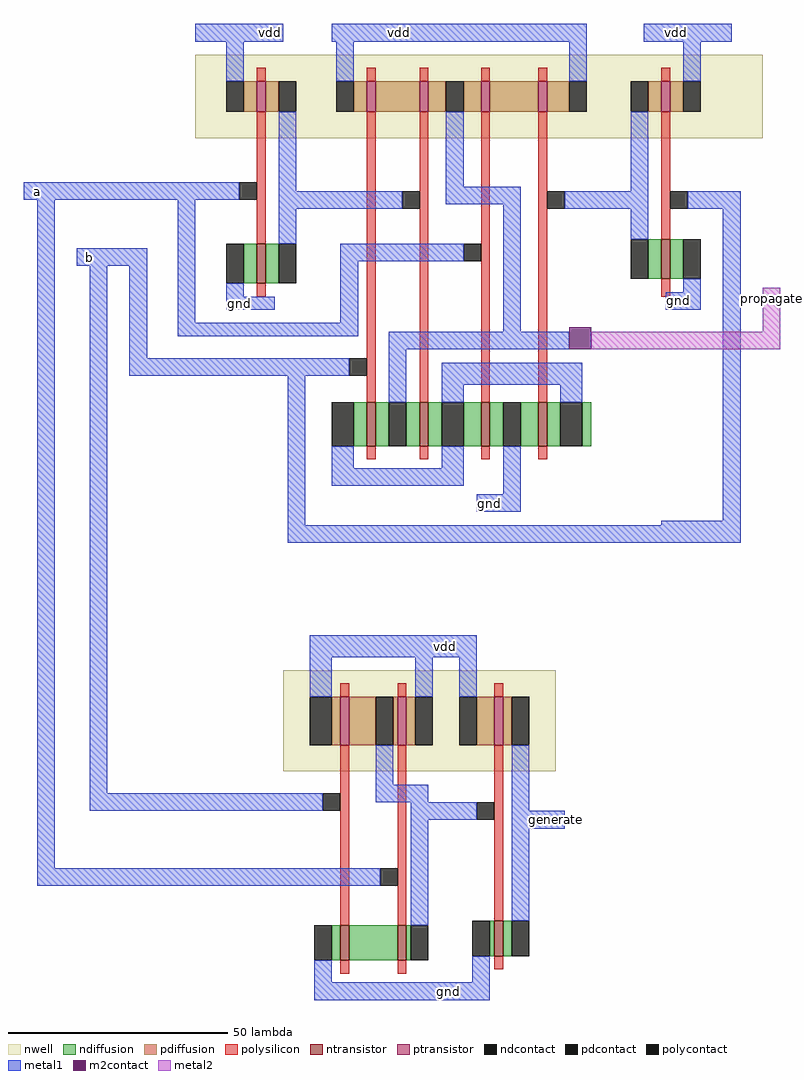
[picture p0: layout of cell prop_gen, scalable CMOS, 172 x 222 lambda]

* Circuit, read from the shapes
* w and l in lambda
.subckt prop_gen a b generate gnd propagate vdd
M1 n1 a gnd VSUBS nfet w=9 l=2
M2 n2 b gnd VSUBS nfet w=8 l=2
M3 propagate b n3 VSUBS nfet w=10 l=2
M4 n4 a n2 VSUBS nfet w=8 l=2
M5 n3 n1 propagate VSUBS nfet w=10 l=2
M6 gnd a n3 VSUBS nfet w=10 l=2
M7 generate n4 gnd VSUBS nfet w=8 l=2
M8 n3 n5 gnd VSUBS nfet w=10 l=2
M9 gnd b n5 VSUBS nfet w=9 l=2
M10 n1 a vdd n6 pfet w=7 l=2
M11 n4 b vdd n7 pfet w=11 l=2
M12 n8 b vdd n6 pfet w=7 l=2
M13 vdd a n4 n7 pfet w=11 l=2
M14 propagate n1 n8 n6 pfet w=7 l=2
M15 n9 a propagate n6 pfet w=7 l=2
M16 generate n4 vdd n7 pfet w=11 l=2
M17 vdd n5 n9 n6 pfet w=7 l=2
M18 vdd b n5 n6 pfet w=7 l=2
.ends

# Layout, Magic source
magic
tech scmos
<< nwell >>
rect 119 199 248 218
rect 139 55 201 78
<< ntransistor >>
rect 133 166 135 175
rect 225 167 227 176
rect 158 129 160 139
rect 170 129 172 139
rect 184 129 186 139
rect 197 129 199 139
rect 152 12 154 20
rect 165 12 167 20
rect 187 13 189 21
<< ptransistor >>
rect 133 205 135 212
rect 158 205 160 212
rect 170 205 172 212
rect 184 205 186 212
rect 197 205 199 212
rect 225 205 227 212
rect 152 61 154 72
rect 165 61 167 72
rect 187 61 189 72
<< ndiffusion >>
rect 130 166 133 175
rect 135 166 138 175
rect 222 167 225 176
rect 227 167 230 176
rect 155 129 158 139
rect 160 129 163 139
rect 167 129 170 139
rect 172 129 175 139
rect 180 129 184 139
rect 186 129 189 139
rect 193 129 197 139
rect 199 129 202 139
rect 207 129 209 139
rect 150 12 152 20
rect 154 12 165 20
rect 167 12 168 20
rect 186 13 187 21
rect 189 13 191 21
<< pdiffusion >>
rect 130 205 133 212
rect 135 205 138 212
rect 155 205 158 212
rect 160 205 170 212
rect 172 205 176 212
rect 180 205 184 212
rect 186 205 197 212
rect 199 205 204 212
rect 222 205 225 212
rect 227 205 230 212
rect 150 61 152 72
rect 154 61 160 72
rect 164 61 165 72
rect 167 61 169 72
rect 183 61 187 72
rect 189 61 191 72
<< ndcontact >>
rect 126 166 130 175
rect 138 166 142 175
rect 218 167 222 176
rect 230 167 234 176
rect 150 129 155 139
rect 163 129 167 139
rect 175 129 180 139
rect 189 129 193 139
rect 202 129 207 139
rect 146 12 150 20
rect 168 12 172 20
rect 182 13 186 21
rect 191 13 195 21
<< pdcontact >>
rect 126 205 130 212
rect 138 205 142 212
rect 151 205 155 212
rect 176 205 180 212
rect 204 205 208 212
rect 218 205 222 212
rect 230 205 234 212
rect 145 61 150 72
rect 160 61 164 72
rect 169 61 173 72
rect 179 61 183 72
rect 191 61 195 72
<< polysilicon >>
rect 133 212 135 215
rect 158 212 160 215
rect 170 212 172 215
rect 184 212 186 215
rect 197 212 199 215
rect 225 212 227 215
rect 133 175 135 205
rect 133 163 135 166
rect 158 139 160 205
rect 170 139 172 205
rect 184 139 186 205
rect 197 139 199 205
rect 225 176 227 205
rect 225 163 227 167
rect 158 126 160 129
rect 170 126 172 129
rect 184 126 186 129
rect 197 126 199 129
rect 152 72 154 75
rect 165 72 167 75
rect 187 72 189 75
rect 152 20 154 61
rect 165 20 167 61
rect 187 21 189 61
rect 152 9 154 12
rect 165 9 167 12
rect 187 10 189 13
<< polycontact >>
rect 129 185 133 189
rect 154 145 158 149
rect 166 183 170 187
rect 180 171 184 175
rect 199 183 203 187
rect 227 183 231 187
rect 148 46 152 50
rect 161 29 165 33
rect 183 44 187 48
<< metal1 >>
rect 119 221 139 225
rect 150 221 208 225
rect 221 221 241 225
rect 126 212 130 221
rect 151 212 155 221
rect 204 212 208 221
rect 230 212 234 221
rect 80 185 129 189
rect 138 187 142 205
rect 176 188 180 205
rect 83 33 87 185
rect 92 170 108 174
rect 95 50 99 170
rect 104 149 108 170
rect 115 157 119 185
rect 138 183 166 187
rect 176 184 193 188
rect 218 187 222 205
rect 138 175 142 183
rect 152 171 180 175
rect 126 163 130 166
rect 126 160 137 163
rect 152 157 156 171
rect 115 154 156 157
rect 189 155 193 184
rect 203 183 222 187
rect 231 183 243 187
rect 218 176 222 183
rect 230 164 234 167
rect 226 160 234 164
rect 163 151 204 155
rect 104 145 154 149
rect 140 111 144 145
rect 163 139 167 151
rect 175 143 207 148
rect 175 139 180 143
rect 202 139 207 143
rect 150 124 155 129
rect 175 124 180 129
rect 150 120 180 124
rect 189 118 193 129
rect 183 114 193 118
rect 239 112 243 183
rect 225 111 243 112
rect 140 107 243 111
rect 145 81 183 86
rect 145 72 150 81
rect 169 72 173 81
rect 179 72 183 81
rect 160 52 164 61
rect 95 46 148 50
rect 160 48 172 52
rect 168 44 183 48
rect 191 46 195 61
rect 83 29 161 33
rect 168 20 172 44
rect 191 42 203 46
rect 191 21 195 42
rect 146 7 150 12
rect 182 7 186 13
rect 146 3 186 7
<< m2contact >>
rect 204 151 209 156
<< metal2 >>
rect 248 155 252 165
rect 209 151 252 155
<< labels >>
rlabel metal1 134 221 138 225 5 vdd
rlabel metal1 183 114 189 118 1 gnd
rlabel metal1 226 160 232 164 1 gnd
rlabel metal1 126 160 132 163 1 gnd
rlabel metal1 226 221 231 225 5 vdd
rlabel metal1 163 221 168 225 5 vdd
rlabel metal1 173 81 179 86 5 vdd
rlabel metal1 174 3 179 7 1 gnd
rlabel metal2 248 160 252 165 1 propagate
rlabel metal1 199 42 203 46 1 generate
rlabel metal1 92 170 98 174 1 b
rlabel metal1 80 185 86 189 3 a
<< end >>
